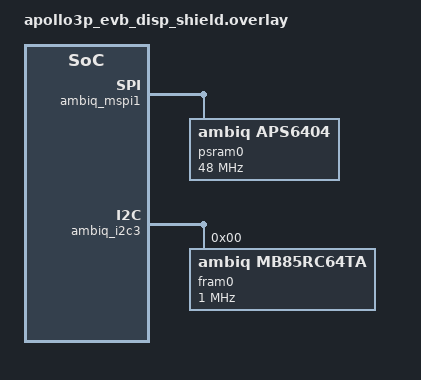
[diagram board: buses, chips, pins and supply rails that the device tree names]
/*
 *  Copyright (c) 2023 Ambiq <www.ambiq.com>
 *
 * SPDX-License-Identifier: Apache-2.0
 */

/ {
	aliases {
		spi-flash0 = &psram0;
		i2c_fram0 = &fram0;
	};
};

&ambiq_mspi1 {
	psram0: psram0@0x04000000 {
		compatible = "ambiq,aps6404";
		reg = <0x04000000>;
		spi-max-frequency = <48000000>;
		status = "okay";
	};
};

&ambiq_i2c3 {
	fram0: fram0@0 {
		compatible = "ambiq,mb85rc64ta";
		reg = <0>;
		spi-max-frequency = <1000000>;
		status = "okay";
	};
};
